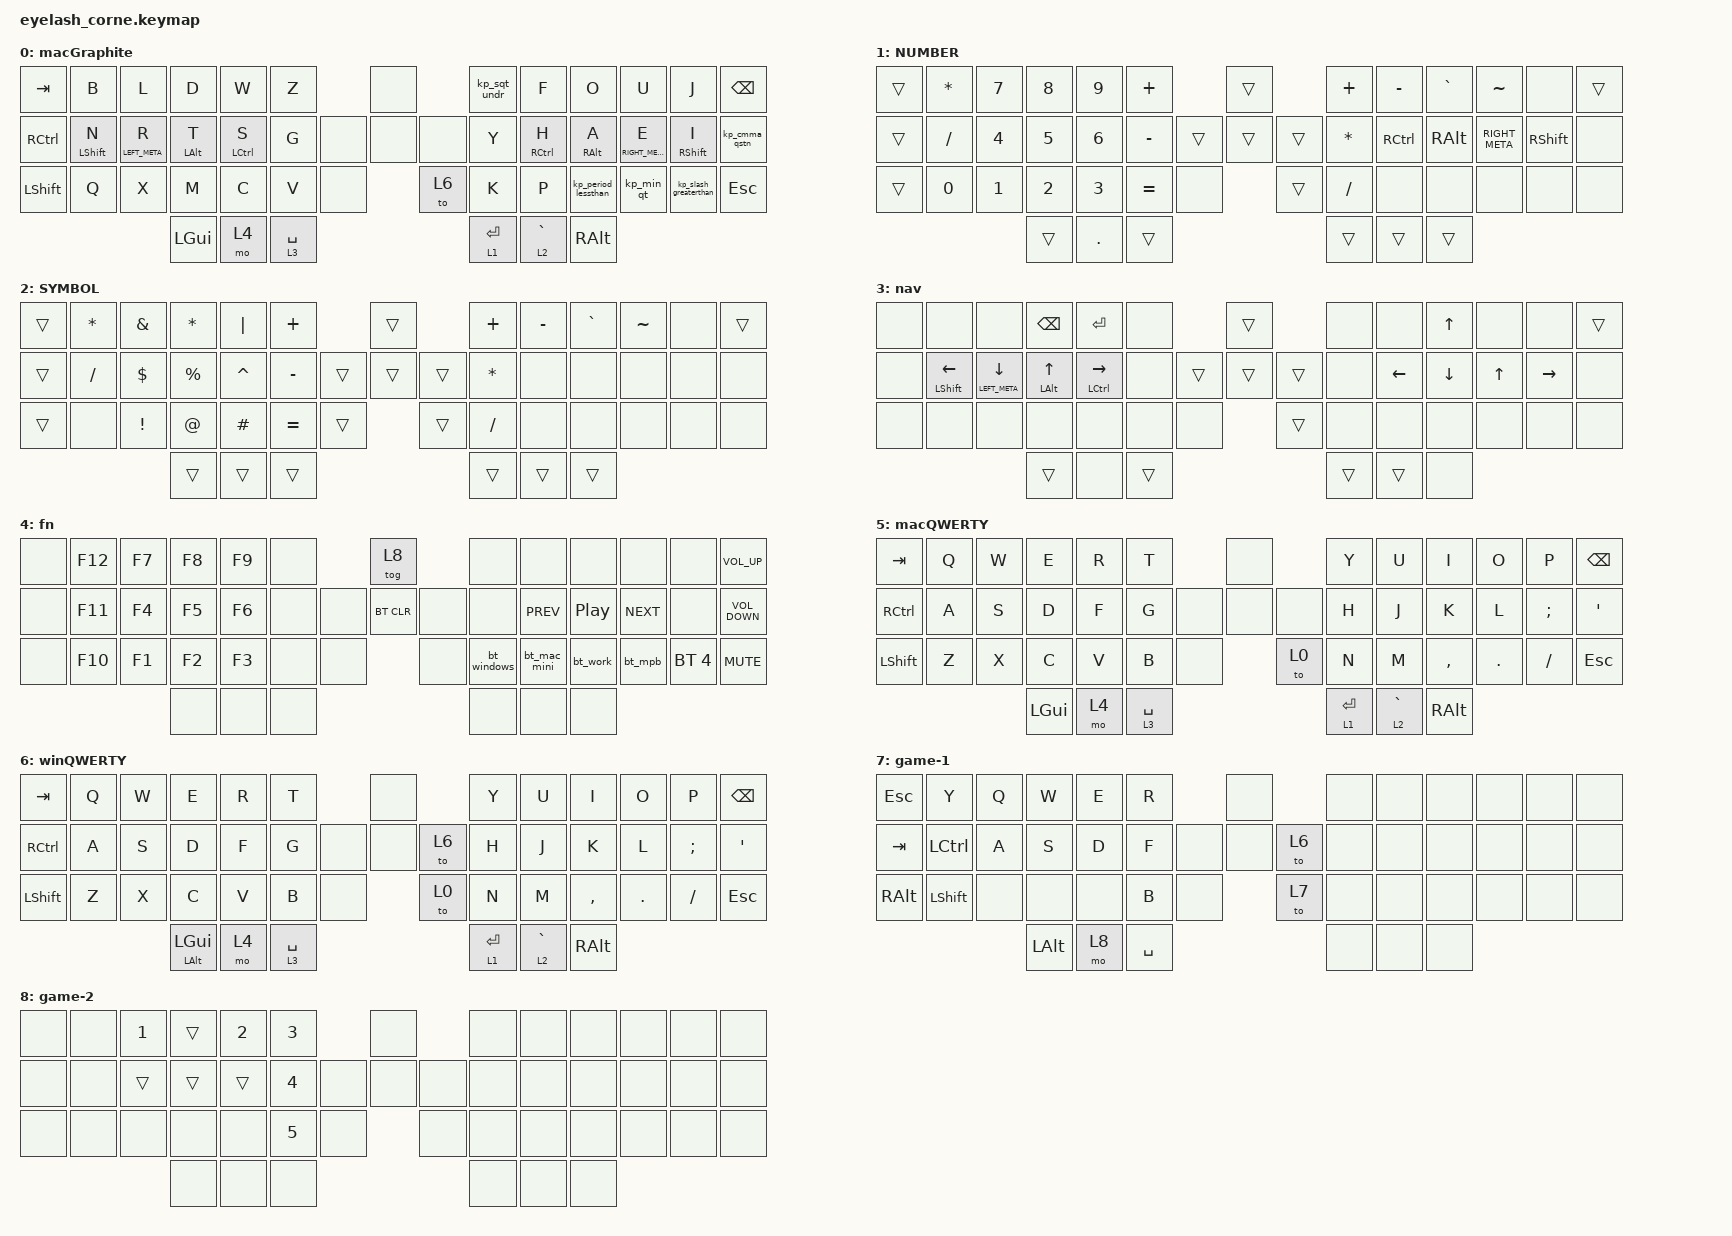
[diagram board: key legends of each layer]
#define ZMK_POINTING_DEFAULT_MOVE_VAL 1200  // 600
#define ZMK_POINTING_DEFAULT_SCRL_VAL 25   // 10

#include <input/processors.dtsi>
#include <zephyr/dt-bindings/input/input-event-codes.h>
#include <behaviors.dtsi>
#include <dt-bindings/zmk/bt.h>
#include <dt-bindings/zmk/keys.h>
#include <dt-bindings/zmk/pointing.h>
#include <dt-bindings/zmk/rgb.h>

&mmv_input_listener { input-processors = <&zip_xy_scaler 2 1>; };

&msc_input_listener { input-processors = <&zip_scroll_scaler 2 1>; };

&msc {
    acceleration-exponent = <1>;      // 0
    time-to-max-speed-ms = <100>;       // 300
    delay-ms = <0>;                   // 0
};

&mmv {
    time-to-max-speed-ms = <500>;
    acceleration-exponent = <1>;
    trigger-period-ms = <16>;
};

&soft_off { hold-time-ms = <2000>; };

/ {
    behaviors {
        td0: td0 {
            compatible = "zmk,behavior-tap-dance";
            display-name = "Shift/Caps Lock Tap Dance";
            #binding-cells = <0>;
            bindings = <&kp LEFT_SHIFT>, <&kp CAPS>;
        };

        kp_sqt_undr: kp_sqt_undr {
            compatible = "zmk,behavior-mod-morph";
            label = "KP_SQT_UNDR";
            bindings = <&kp SQT>, <&kp UNDER>;

            #binding-cells = <0>;
            mods = <(MOD_LSFT|MOD_RSFT)>;
        };

        kp_cmma_qstn: kp_cmma_qstn {
            compatible = "zmk,behavior-mod-morph";
            label = "KP_CMMA_QSTN";
            bindings = <&kp COMMA>, <&kp QUESTION>;

            #binding-cells = <0>;
            mods = <(MOD_LSFT|MOD_RSFT)>;
        };

        kp_min_qt: kp_min_qt {
            compatible = "zmk,behavior-mod-morph";
            label = "KP_MIN_QT";
            bindings = <&kp MINUS>, <&kp DQT>;

            #binding-cells = <0>;
            mods = <(MOD_LSFT|MOD_RSFT)>;
        };

        kp_slash_greaterthan: kp_slash_greaterthan {
            compatible = "zmk,behavior-mod-morph";
            label = "KP_SLASH_GREATERTHAN";
            bindings = <&kp SLASH>, <&kp GREATER_THAN>;

            #binding-cells = <0>;
            mods = <(MOD_LSFT|MOD_RSFT)>;
        };

        hml: hml {
            compatible = "zmk,behavior-hold-tap";
            label = "home_row_mod_left";
            bindings = <&kp>, <&kp>;

            #binding-cells = <2>;
            flavor = "balanced";
            tapping-term-ms = <280>;
            quick-tap-ms = <175>;
            require-prior-idle-ms = <150>;
            hold-trigger-on-release;
            hold-trigger-key-positions = <0 1 2 3 4 5 13 14 15 16 17 18 28 29 30 31 32 33 42 43 44>;
        };

        hm_shift_l: hm_shift_l {
            compatible = "zmk,behavior-hold-tap";
            label = "HM_SHIFT_L";
            bindings = <&kp>, <&kp>;

            #binding-cells = <2>;
            flavor = "balanced";
            tapping-term-ms = <200>;
            quick-tap-ms = <175>;
            hold-trigger-on-release;
            hold-trigger-key-positions = <0 1 2 3 4 5 13 14 15 16 17 18 28 29 30 31 32 33 42 43 44>;
        };

        hmr: hmr {
            compatible = "zmk,behavior-hold-tap";
            label = "home_row_mod_right";
            bindings = <&kp>, <&kp>;

            #binding-cells = <2>;
            flavor = "balanced";
            tapping-term-ms = <280>;
            quick-tap-ms = <175>;
            require-prior-idle-ms = <150>;
            hold-trigger-on-release;
            hold-trigger-key-positions = <7 8 9 10 11 12 22 23 24 25 26 27 36 37 38 39 40 41 47 45 46>;
        };

        hm_shift_r: hm_shift_r {
            compatible = "zmk,behavior-hold-tap";
            label = "HM_SHIFT_R";
            bindings = <&kp>, <&kp>;

            #binding-cells = <2>;
            flavor = "balanced";
            tapping-term-ms = <200>;
            quick-tap-ms = <175>;
            hold-trigger-on-release;
            hold-trigger-key-positions = <7 8 9 10 11 12 22 23 24 25 26 27 36 37 38 39 40 41 45 46 47>;
        };

        kp_period_lessthan: kp_period_lessthan {
            compatible = "zmk,behavior-mod-morph";
            label = "KP_PERIOD_LESSTHAN";
            bindings = <&kp KP_DOT>, <&kp LESS_THAN>;

            #binding-cells = <0>;
            mods = <(MOD_LSFT|MOD_RSFT)>;
        };
    };

    rgb_encoder: rgb_encoder {
        compatible = "zmk,behavior-sensor-rotate";
        #sensor-binding-cells = <0>;
        bindings = <&rgb_ug RGB_BRI>, <&rgb_ug RGB_BRD>;
    };

    scroll_encoder: scroll_encoder {
        compatible = "zmk,behavior-sensor-rotate";
        #sensor-binding-cells = <0>;
        bindings = <&msc SCRL_DOWN>, <&msc SCRL_UP>;

        tap-ms = <100>;
    };

    td_mac_copy_paste: td_mac_copy_paste {
        compatible = "zmk,behavior-tap-dance";
        label = "TD_MAC_COPY_PASTE";
        #binding-cells = <0>;
        bindings = <&kp LG(C)>, <&kp LG(V)>;

        tapping-term-ms = <325>;
    };

    td_win_copy_paste: td_win_copy_paste {
        compatible = "zmk,behavior-tap-dance";
        label = "TD_WIN_COPY_PASTE";
        #binding-cells = <0>;
        bindings = <&kp LC(C)>, <&kp LC(V)>;

        tapping-term-ms = <325>;
    };

    combos {
        compatible = "zmk,combos";

        softoff {
            bindings = <&soft_off>;
            key-positions = <1 15 29>;
        };

        left_round_bracket {
            bindings = <&kp LEFT_PARENTHESIS>;
            key-positions = <3 4>;
            require-prior-idle-ms = <50>;
        };

        right_round_bracket {
            bindings = <&kp RIGHT_PARENTHESIS>;
            key-positions = <8 9>;
            require-prior-idle-ms = <50>;
        };

        left_square_bracket {
            bindings = <&kp LEFT_BRACKET>;
            key-positions = <16 17>;
            require-prior-idle-ms = <50>;
        };

        right_square_bracket {
            bindings = <&kp RIGHT_BRACKET>;
            key-positions = <23 24>;
            require-prior-idle-ms = <50>;
        };

        left_curly_bracket {
            bindings = <&kp LEFT_BRACE>;
            key-positions = <31 32>;
            require-prior-idle-ms = <50>;
        };

        right_curly_bracket {
            bindings = <&kp RIGHT_BRACE>;
            key-positions = <37 38>;
            require-prior-idle-ms = <50>;
        };

        plus {
            bindings = <&kp PLUS>;
            key-positions = <4 8>;
            require-prior-idle-ms = <50>;
        };

        minus {
            bindings = <&kp MINUS>;
            key-positions = <17 23>;
            require-prior-idle-ms = <50>;
        };

        equal {
            bindings = <&kp EQUAL>;
            key-positions = <44 45>;
            require-prior-idle-ms = <50>;
        };

        asterik {
            bindings = <&kp ASTERISK>;
            key-positions = <3 9>;
            require-prior-idle-ms = <30>;
        };

        forwardslash {
            bindings = <&kp SLASH>;
            key-positions = <16 24>;
            require-prior-idle-ms = <50>;
        };

        escape {
            bindings = <&kp ESCAPE>;
            key-positions = <2 3>;
            require-prior-idle-ms = <50>;
        };

        vim-colon {
            bindings = <&kp COLON>;
            key-positions = <25 24>;
            require-prior-idle-ms = <50>;
        };

        vim-dollar-leading-key {
            bindings = <&kp DOLLAR>;
            key-positions = <39 38>;
            require-prior-idle-ms = <50>;
        };

        mac-copy-paste {
            bindings = <&td_mac_copy_paste>;
            key-positions = <31 30>;
            layers = <6 0>;
            require-prior-idle-ms = <50>;
        };

        mac_undo {
            bindings = <&kp LG(Z)>;
            key-positions = <29 30>;
            layers = <6 0>;
            require-prior-idle-ms = <50>;
        };

        mac_redo {
            bindings = <&kp LG(LS(Z))>;
            key-positions = <31 30 29>;
            layers = <6 0>;
            require-prior-idle-ms = <50>;
        };

        win_undo {
            bindings = <&kp LC(Z)>;
            key-positions = <29 30>;
            layers = <7>;
            require-prior-idle-ms = <50>;
        };

        win_redo {
            bindings = <&kp LC(LS(Z))>;
            key-positions = <30 29 31>;
            layers = <7>;
            require-prior-idle-ms = <50>;
        };

        win_copy_paste {
            bindings = <&td_win_copy_paste>;
            key-positions = <31 30>;
            layers = <7>;
            require-prior-idle-ms = <30>;
        };

        mac_screenshot {
            bindings = <&kp LG(LS(NUMBER_4))>;
            key-positions = <2 14>;
            layers = <6 0>;
            require-prior-idle-ms = <50>;
        };

        win_screenshot {
            bindings = <&kp LS(LC(NUMBER_4))>;
            key-positions = <13 1>;
            layers = <7>;
            require-prior-idle-ms = <50>;
        };

        tilde-grave {
            bindings = <&kp GRAVE>;
            key-positions = <10 11>;
            require-prior-idle-ms = <50>;
        };

        semicolon {
            bindings = <&kp SEMI>;
            key-positions = <10 9>;
            require-prior-idle-ms = <50>;
        };

        caps {
            bindings = <&kp CAPS>;
            key-positions = <29 40>;
            require-prior-idle-ms = <50>;
        };
    };

    macros {
        bt_windows: macro_win_to_profile {
            compatible = "zmk,behavior-macro";
            #binding-cells = <0>;
            bindings = <&bt BT_SEL 0 &to 0>;
            label = "MACRO_WIN_TO_PROFILE";
        };

        bt_mac_mini: bt_mac {
            compatible = "zmk,behavior-macro";
            #binding-cells = <0>;
            bindings = <&bt BT_SEL 1 &to 0>;
            label = "BT_MAC";
        };

        bt_work: bt_work {
            compatible = "zmk,behavior-macro";
            #binding-cells = <0>;
            bindings = <&bt BT_SEL 2 &to 0>;
            label = "BT_WORK";
        };

        bt_mpb: bt_mpb {
            compatible = "zmk,behavior-macro";
            #binding-cells = <0>;
            bindings = <&bt BT_SEL 3 &to 0>;
            label = "BT_MPB";
        };
    };

    keymap {
        compatible = "zmk,keymap";

        graphite {
            display-name = "macGraphite";
            bindings = <
&kp TAB         &kp B                     &kp L             &kp D            &kp W         &kp Z                        &none         &kp_sqt_undr  &kp F         &kp O                &kp U              &kp J                      &kp BACKSPACE
&kp RCTRL       &hm_shift_l LEFT_SHIFT N  &hml LEFT_META R  &hml LEFT_ALT T  &hml LCTRL S  &kp G                 &none  &none  &none  &kp Y         &hmr RCTRL H  &hmr RIGHT_ALT A     &hmr RIGHT_META E  &hm_shift_r RIGHT_SHIFT I  &kp_cmma_qstn
&kp LEFT_SHIFT  &kp Q                     &kp X             &kp M            &kp C         &kp V        &none           &to 6         &kp K         &kp P         &kp_period_lessthan  &kp_min_qt         &kp_slash_greaterthan      &kp ESC
                                                            &kp LGUI         &mo 4         &lt 3 SPACE                                &lt 1 ENTER   &lt 2 GRAVE   &kp RALT
            >;
        };

        number_layer {
            display-name = "NUMBER";
            bindings = <
&trans  &kp ASTERISK  &kp N7  &kp N8  &kp N9        &kp PLUS                    &trans          &kp PLUS   &kp MINUS  &kp GRAVE      &kp TILDE       &none            &trans
&trans  &kp SLASH     &kp N4  &kp N5  &kp NUMBER_6  &kp MINUS           &trans  &trans  &trans  &kp STAR   &kp RCTRL  &kp RIGHT_ALT  &kp RIGHT_META  &kp RIGHT_SHIFT  &none
&trans  &kp NUMBER_0  &kp N1  &kp N2  &kp N3        &kp EQUAL  &none            &trans          &kp SLASH  &none      &none          &none           &none            &none
                              &trans  &kp PERIOD    &trans                                      &trans     &trans     &trans
            >;
        };

        symbol_layer {
            display-name = "SYMBOL";
            bindings = <
&trans  &kp STAR   &kp AMPERSAND    &kp ASTERISK  &kp PIPE   &kp PLUS                     &trans          &kp PLUS   &kp MINUS  &kp GRAVE  &kp TILDE  &none  &trans
&trans  &kp SLASH  &kp DOLLAR       &kp PERCENT   &kp CARET  &kp MINUS            &trans  &trans  &trans  &kp STAR   &none      &none      &none      &none  &none
&trans  &none      &kp EXCLAMATION  &kp AT_SIGN   &kp HASH   &kp EQUAL  &trans            &trans          &kp SLASH  &none      &none      &none      &none  &none
                                    &trans        &trans     &trans                                       &trans     &trans     &trans
            >;
        };

        nav_layer {
            bindings = <
&none  &none                              &none                      &kp BACKSPACE           &kp ENTER               &none                    &trans          &none   &none     &kp UP_ARROW  &none   &none      &trans
&none  &hm_shift_l LEFT_SHIFT LEFT_ARROW  &hml LEFT_META DOWN_ARROW  &hml LEFT_ALT UP_ARROW  &hml LCTRL RIGHT_ARROW  &none            &trans  &trans  &trans  &none   &kp LEFT  &kp DOWN      &kp UP  &kp RIGHT  &none
&none  &none                              &none                      &none                   &none                   &none   &none            &trans          &none   &none     &none         &none   &none      &none
                                                                     &trans                  &none                   &trans                                   &trans  &trans    &none
            >;

            label = "nav";
        };

        fn_layer {
            bindings = <
&none  &kp F12  &kp F7  &kp F8  &kp F9  &none                  &tog 8             &none        &none         &none             &none       &none         &kp C_VOLUME_UP
&none  &kp F11  &kp F4  &kp F5  &kp F6  &none           &none  &bt BT_CLR  &none  &none        &kp C_PREV    &kp C_PLAY_PAUSE  &kp C_NEXT  &none         &kp C_VOLUME_DOWN
&none  &kp F10  &kp F1  &kp F2  &kp F3  &none  &none           &none              &bt_windows  &bt_mac_mini  &bt_work          &bt_mpb     &bt BT_SEL 4  &kp C_MUTE
                        &none   &none   &none                                     &none        &none         &none
            >;

            label = "fn";
        };

        mac_qwerty_layer {
            display-name = "macQWERTY";
            bindings = <
&kp TAB         &kp Q  &kp W  &kp E     &kp R  &kp T                        &none         &kp Y        &kp U        &kp I      &kp O    &kp P          &kp BACKSPACE
&kp RCTRL       &kp A  &kp S  &kp D     &kp F  &kp G                 &none  &none  &none  &kp H        &kp J        &kp K      &kp L    &kp SEMICOLON  &kp SQT
&kp LEFT_SHIFT  &kp Z  &kp X  &kp C     &kp V  &kp B        &none           &to 0         &kp N        &kp M        &kp COMMA  &kp DOT  &kp FSLH       &kp ESC
                              &kp LGUI  &mo 4  &lt 3 SPACE                                &lt 1 ENTER  &lt 2 GRAVE  &kp RALT
            >;
        };

        windows_qwerty_layout {
            display-name = "winQWERTY";
            bindings = <
&kp TAB         &kp Q  &kp W  &kp E                  &kp R  &kp T                        &none         &kp Y        &kp U        &kp I      &kp O    &kp P          &kp BACKSPACE
&kp RCTRL       &kp A  &kp S  &kp D                  &kp F  &kp G                 &none  &none  &to 6  &kp H        &kp J        &kp K      &kp L    &kp SEMICOLON  &kp SQT
&kp LEFT_SHIFT  &kp Z  &kp X  &kp C                  &kp V  &kp B        &none           &to 0         &kp N        &kp M        &kp COMMA  &kp DOT  &kp FSLH       &kp ESC
                              &mt LEFT_ALT LEFT_GUI  &mo 4  &lt 3 SPACE                                &lt 1 ENTER  &lt 2 GRAVE  &kp RALT
            >;
        };

        gameL1 {
            bindings = <
&kp ESCAPE     &kp Y           &kp Q  &kp W         &kp E  &kp R                      &none         &none  &none  &none  &none  &none  &none
&kp TAB        &kp LCTRL       &kp A  &kp S         &kp D  &kp F               &none  &none  &to 6  &none  &none  &none  &none  &none  &none
&kp RIGHT_ALT  &kp LEFT_SHIFT  &none  &none         &none  &kp B      &none           &to 7         &none  &none  &none  &none  &none  &none
                                      &kp LEFT_ALT  &mo 8  &kp SPACE                                &none  &none  &none
            >;

            label = "game-1";
        };

        gameL2 {
            bindings = <
&none  &none  &kp NUMBER_1  &trans  &kp NUMBER_2  &kp NUMBER_3                  &none         &none  &none  &none  &none  &none  &none
&none  &none  &trans        &trans  &trans        &kp NUMBER_4           &none  &none  &none  &none  &none  &none  &none  &none  &none
&none  &none  &none         &none   &none         &kp NUMBER_5  &none           &none         &none  &none  &none  &none  &none  &none
                            &none   &none         &none                                       &none  &none  &none
            >;

            label = "game-2";
        };
    };
};
